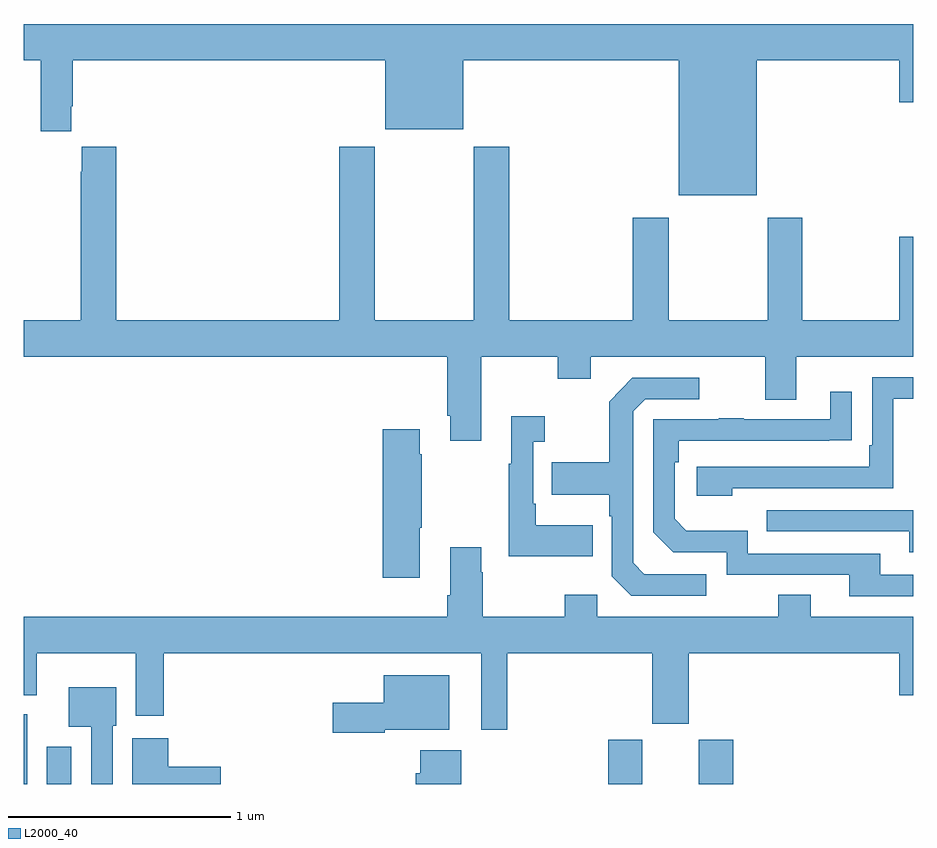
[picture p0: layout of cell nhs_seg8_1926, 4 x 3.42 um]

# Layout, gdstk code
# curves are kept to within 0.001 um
import gdstk
lib = gdstk.Library(unit=1e-6, precision=1e-09)
def R(c, l, rs):  # rectangles x0, y0, x1, y1
    for r in rs: c.add(gdstk.rectangle(r[:2], r[2:], *l))
def P(c, l, *ps):  # polygons
    for p in ps: c.add(gdstk.Polygon(p, *l))
L2000_40 = (2000, 40)

nhs_seg8_1926 = lib.new_cell('nhs_seg8_1926')
R(nhs_seg8_1926, L2000_40, [(233,1127.9,233.017,1128.214), (233.105,1127.9,233.215,1128.067), (235.628,1127.9,235.78,1128.099), (236.036,1127.9,236.189,1128.099)])
P(nhs_seg8_1926, L2000_40, [(233,1131.152),(233.078,1131.152),(233.078,1130.835),(233.215,1130.835),(233.215,1130.947),(233.222,1130.947),(233.222,1131.152),(234.626,1131.152),(234.626,1130.843),(234.976,1130.843),(234.976,1131.152),(235.946,1131.152),(235.946,1130.546),(236.296,1130.546),(236.296,1131.152),(236.936,1131.152),(236.936,1130.964),(237,1130.964),(237,1131.316),(233,1131.316)],
  [(235.057,1129.82),(235.402,1129.82),(235.402,1129.721),(235.549,1129.721),(235.549,1129.82),(236.333,1129.82),(236.333,1129.626),(236.473,1129.626),(236.473,1129.82),(237,1129.82),(237,1130.359),(236.936,1130.359),(236.936,1129.984),(236.499,1129.984),(236.499,1130.446),(236.344,1130.446),(236.344,1129.984),(235.899,1129.984),(235.899,1130.446),(235.739,1130.446),(235.739,1129.984),(235.184,1129.984),(235.184,1130.764),(235.024,1130.764),(235.024,1129.984),(234.579,1129.984),(234.579,1130.764),(234.419,1130.764),(234.419,1129.984),(233.417,1129.984),(233.417,1130.764),(233.261,1130.764),(233.261,1130.651),(233.257,1130.651),(233.257,1129.984),(233,1129.984),(233,1129.82),(234.905,1129.82),(234.905,1129.555),(234.917,1129.555),(234.917,1129.443),(235.057,1129.443)],
  [(236.186,1129.23),(236.91,1129.23),(236.91,1129.632),(237,1129.632),(237,1129.728),(236.814,1129.728),(236.814,1129.423),(236.801,1129.423),(236.801,1129.326),(236.025,1129.326),(236.025,1129.196),(236.186,1129.196)],
  [(236.068,1128.843),(235.791,1128.843),(235.74,1128.894),(235.74,1129.575),(235.794,1129.629),(236.038,1129.629),(236.038,1129.725),(235.737,1129.725),(235.632,1129.619),(235.632,1129.347),(235.375,1129.347),(235.375,1129.199),(235.632,1129.199),(235.632,1129.103),(235.644,1129.103),(235.644,1128.834),(235.731,1128.747),(236.068,1128.747)],
  [(237,1128.84),(236.851,1128.84),(236.851,1128.936),(236.256,1128.936),(236.256,1129.039),(235.979,1129.039),(235.926,1129.092),(235.926,1129.346),(235.946,1129.346),(235.946,1129.443),(236.723,1129.444),(236.723,1129.663),(236.627,1129.663),(236.627,1129.539),(236.237,1129.539),(236.237,1129.544),(236.125,1129.544),(236.125,1129.539),(235.83,1129.539),(235.83,1129.032),(235.92,1128.942),(236.16,1128.942),(236.16,1128.84),(236.711,1128.84),(236.711,1128.744),(237,1128.744)],
  [(235.559,1129.063),(235.303,1129.063),(235.303,1129.159),(235.29,1129.159),(235.29,1129.439),(235.342,1129.439),(235.342,1129.552),(235.193,1129.552),(235.193,1129.339),(235.182,1129.339),(235.182,1128.923),(235.559,1128.923)],
  [(234.781,1129.051),(234.789,1129.051),(234.789,1129.382),(234.781,1129.382),(234.781,1129.495),(234.614,1129.495),(234.614,1128.828),(234.781,1128.828)],
  [(237,1129.131),(236.341,1129.131),(236.341,1129.035),(236.981,1129.035),(236.981,1128.941),(237,1128.941)],
  [(233,1128.299),(233.059,1128.299),(233.059,1128.488),(233.504,1128.488),(233.504,1128.207),(233.63,1128.207),(233.63,1128.488),(235.058,1128.488),(235.058,1128.144),(235.175,1128.144),(235.175,1128.488),(235.826,1128.488),(235.826,1128.171),(235.99,1128.171),(235.99,1128.488),(236.936,1128.488),(236.936,1128.3),(237,1128.3),(237,1128.652),(236.539,1128.652),(236.539,1128.751),(236.392,1128.751),(236.392,1128.652),(235.578,1128.652),(235.578,1128.751),(235.432,1128.751),(235.432,1128.652),(235.065,1128.652),(235.065,1128.851),(235.057,1128.851),(235.057,1128.964),(234.917,1128.964),(234.917,1128.748),(234.905,1128.748),(234.905,1128.652),(233,1128.652)],
  [(234.624,1128.143),(234.913,1128.143),(234.913,1128.388),(234.62,1128.388),(234.62,1128.265),(234.39,1128.265),(234.39,1128.131),(234.624,1128.131)],
  [(233.4,1128.162),(233.416,1128.162),(233.416,1128.334),(233.204,1128.334),(233.204,1128.158),(233.304,1128.158),(233.304,1127.9),(233.4,1127.9)],
  [(233.887,1127.978),(233.651,1127.978),(233.651,1128.106),(233.489,1128.106),(233.489,1127.9),(233.887,1127.9)],
  [(234.967,1128.052),(234.783,1128.052),(234.783,1127.948),(234.763,1127.948),(234.763,1127.9),(234.967,1127.9)])

lib.write_gds('nhs_seg8_1926.gds')
